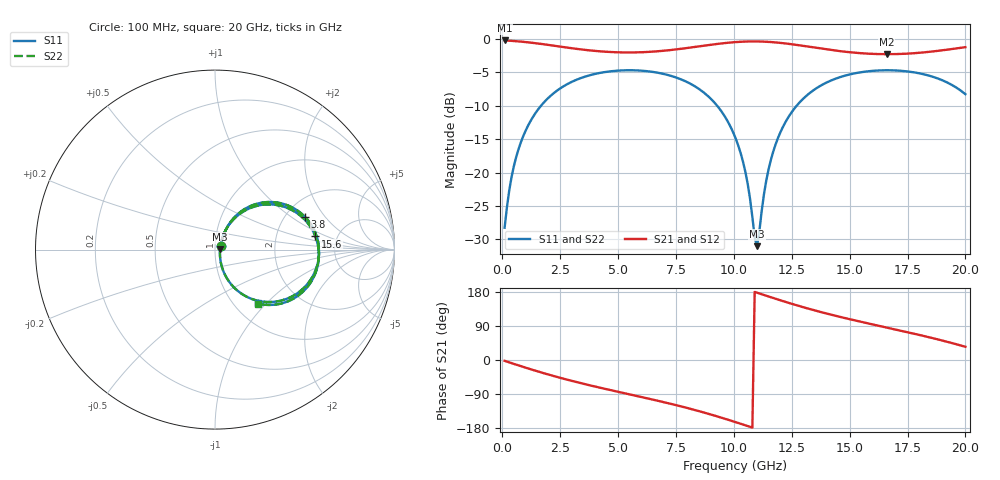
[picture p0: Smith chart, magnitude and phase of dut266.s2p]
! Touchstone file exported from HFSS 2026.1.0
!  File:  C:/ffzhzh/LocalFiles/Ansys_Project_Files/temp_train_TSV_RDL_266_1783070215_36532.aedt
!  Generated:  05:31:19 PM Jul  3, 2026
!  Design:  TSV_RDL
!  Project:  temp_train_TSV_RDL_266_1783070215_36532
! Variables:
!  h_bsmrdl = 2.52um
!  h_ox = 20um
!  h_rdl = 5um
!  h_sub = 59.09um
!  h_tmrdl = 2.85um
!  h_tsv = 59.09um
!  h_via = 3um
!  l_bsmrdl = 920.54um
!  l_sub = 5805.11um
!  l_tmrdl = 624.76um
!  m_sub = 200um
!  pitch = 55.71um
!  r_tsv = 12.88um
!  s_tmrdl = 10um
!  w_bsmrdl = 18.43um
!  w_sub = 500um
!  w_tmrdl = 29.72um
!  x_tsv_center1 = 639.62um
!  x_tsv_center2 = 1578.59um
!  x_tsv_center3 = 2233.07um
!  x_tsv_center4 = 3172.04um
!  x_tsv_center5 = 3826.52um
!  x_tsv_center6 = 4765.49um
# GHz S MA R 50.000000
! Terminal data exported
! Port[1] = TM_RDL1_1_T1
! Port[2] = TM_RDL5_1_T1
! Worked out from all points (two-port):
!   200 points, 100 MHz to 20 GHz, reference 50 ohm
!   highest |S21| = -0.28 dB at 100 MHz (marker M1); lowest = -2.3 dB at 16.6 GHz (marker M2)
!   |S21| within 3 dB of the highest: start of sweep to end of sweep
!   lowest |S11| = -31.0 dB at 11 GHz (marker M3), VSWR 1.06, Z = 52.9 + j0.0883 ohm
!   |S11| at or under -10 dB: start of sweep to 1.68 GHz; 9.271 GHz to 12.72 GHz (3.449 GHz wide, 31.4 % of centre)
!   |S22| runs from -31.0 to -4.7 dB; largest |S21 - S12| = 1.6e-14
!   S11 on the Smith chart (normalised r, x): 100 MHz: 1.07, +0.05; 3.8 GHz: 2.54, +1.29; 15.6 GHz: 3.42, +0.73; 20 GHz: 1.28, -0.90
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0.1  0.03872 33.3  0.9682 -2.1  0.9682 -2.1  0.03872 33.3
! Gamma 0 0 0 0
! Port Impedance 50 0 50 0
0.3  0.07348 56.4  0.9642 -6.3  0.9642 -6.3  0.07348 56.4
0.5  0.1115 61.1  0.9589 -10.3  0.9589 -10.3  0.1115 61.1
1.1  0.2216 58.2  0.9383 -22.0  0.9383 -22.0  0.2216 58.2
2.1  0.3758 44.4  0.8912 -40.2  0.8912 -40.2  0.3758 44.3
3.5  0.5148 24.1  0.8261 -62.7  0.8261 -62.7  0.5148 24.1
3.8  0.5336 19.9  0.8153 -67.1  0.8153 -67.1  0.5336 19.9
5.3  0.5797 0.1  0.7876 -88.0  0.7876 -88.0  0.5796 0.1
6.8  0.5523 -19.6  0.8062 -108.7  0.8062 -108.7  0.5523 -19.6
8.8  0.3831 -48.7  0.8892 -140.2  0.8892 -140.2  0.383 -48.8
10.1  0.1757 -67.3  0.942 -164.4  0.942 -164.4  0.1757 -67.4
10.5  0.1007 -68.1  0.9501 -172.4  0.9501 -172.4  0.1007 -68.1
11  0.02818 1.7  0.9521 177.6  0.9521 177.6  0.02819 1.8
11.4  0.08698 59.3  0.9469 169.5  0.9469 169.5  0.08703 59.3
11.8  0.1616 60.4  0.9362 161.6  0.9362 161.6  0.1616 60.4
12.5  0.2823 51.7  0.9072 148.3  0.9072 148.3  0.2824 51.7
13.4  0.407 38.1  0.8611 132.4  0.8611 132.4  0.4071 38.1
15.6  0.5644 7.4  0.7753 99.3  0.7753 99.3  0.5644 7.4
16.6  0.5801 -5.4  0.7646 85.7  0.7646 85.7  0.5801 -5.4
16.7  0.58 -6.6  0.7647 84.3  0.7647 84.3  0.5801 -6.7
18.6  0.5181 -31.5  0.8017 57.5  0.8017 57.5  0.5181 -31.5
20  0.3843 -51.4  0.8626 34.9  0.8626 34.9  0.3843 -51.5
